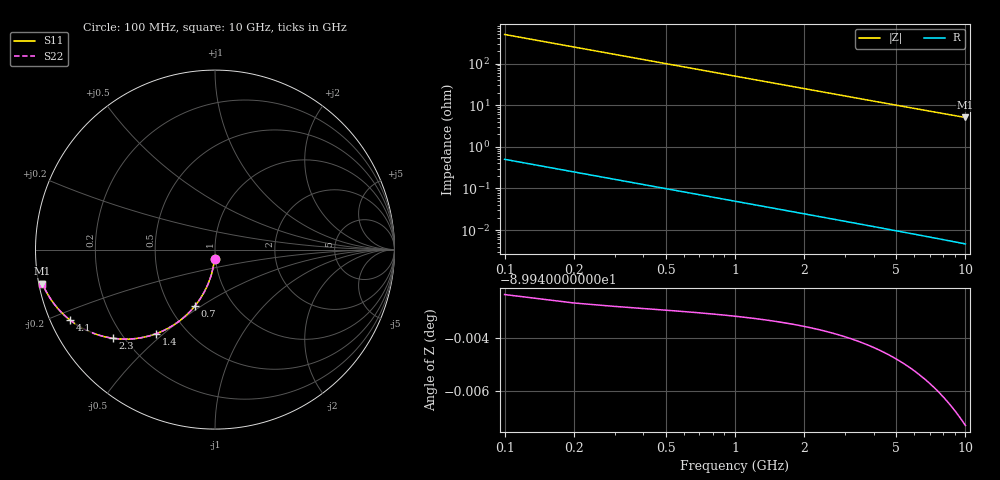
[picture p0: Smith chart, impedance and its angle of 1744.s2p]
# Hz S RI R 50.00
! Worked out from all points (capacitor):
!   100 points, 100 MHz to 10 GHz, reference 50 ohm
!   read as one part in shunt: C = 3.19 pF near 100 MHz
!   lowest |Z| = 5.07 ohm at 10 GHz (marker M1)
!   S11 on the Smith chart (normalised r, x): 100 MHz: 0.99, -0.10; 700 MHz: 0.67, -0.47; 1.4 GHz: 0.34, -0.47; 2.3 GHz: 0.16, -0.36; 4.1 GHz: 0.06, -0.23; 10 GHz: 0.01, -0.10
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1e8  -0.00254 -0.0499  0.9974 -0.05  0.9974 -0.05  -0.00254 -0.0499
2e8  -0.01 -0.0991  0.9899 -0.0992  0.9899 -0.0992  -0.01 -0.0991
3e8  -0.0222 -0.1468  0.9778 -0.147  0.9778 -0.147  -0.0222 -0.1468
4e8  -0.0388 -0.1924  0.9612 -0.1927  0.9612 -0.1927  -0.0388 -0.1924
5e8  -0.0592 -0.2354  0.9408 -0.2357  0.9408 -0.2357  -0.0592 -0.2354
6e8  -0.0831 -0.2753  0.9169 -0.2757  0.9169 -0.2757  -0.0831 -0.2753
7e8  -0.1097 -0.3118  0.8903 -0.3122  0.8903 -0.3122  -0.1097 -0.3118
8e8  -0.1386 -0.3448  0.8614 -0.3453  0.8614 -0.3453  -0.1386 -0.3448
1e9  -0.2008 -0.3998  0.7992 -0.4004  0.7992 -0.4004  -0.2008 -0.3998
1.2e9  -0.2655 -0.4408  0.7344 -0.4415  0.7344 -0.4415  -0.2655 -0.4408
1.4e9  -0.3297 -0.4692  0.6703 -0.47  0.6703 -0.47  -0.3297 -0.4692
1.6e9  -0.391 -0.487  0.6089 -0.488  0.6089 -0.488  -0.391 -0.487
1.8e9  -0.4482 -0.4963  0.5517 -0.4974  0.5517 -0.4974  -0.4482 -0.4963
2.3e9  -0.57 -0.4939  0.43 -0.4953  0.43 -0.4953  -0.57 -0.4939
2.8e9  -0.6625 -0.4715  0.3375 -0.4732  0.3375 -0.4732  -0.6625 -0.4715
3.4e9  -0.743 -0.4354  0.2569 -0.4375  0.2569 -0.4375  -0.743 -0.4354
4.1e9  -0.8077 -0.3923  0.1922 -0.3948  0.1922 -0.3948  -0.8077 -0.3923
5.1e9  -0.8665 -0.338  0.1334 -0.3411  0.1334 -0.3411  -0.8665 -0.338
5.8e9  -0.8935 -0.3062  0.1064 -0.3097  0.1064 -0.3097  -0.8935 -0.3062
6.7e9  -0.918 -0.2719  0.082 -0.2759  0.082 -0.2759  -0.918 -0.2719
8.4e9  -0.9462 -0.2226  0.0538 -0.2277  0.0538 -0.2277  -0.9462 -0.2226
1e10  -0.9614 -0.189  0.0386 -0.1951  0.0386 -0.1951  -0.9614 -0.189
